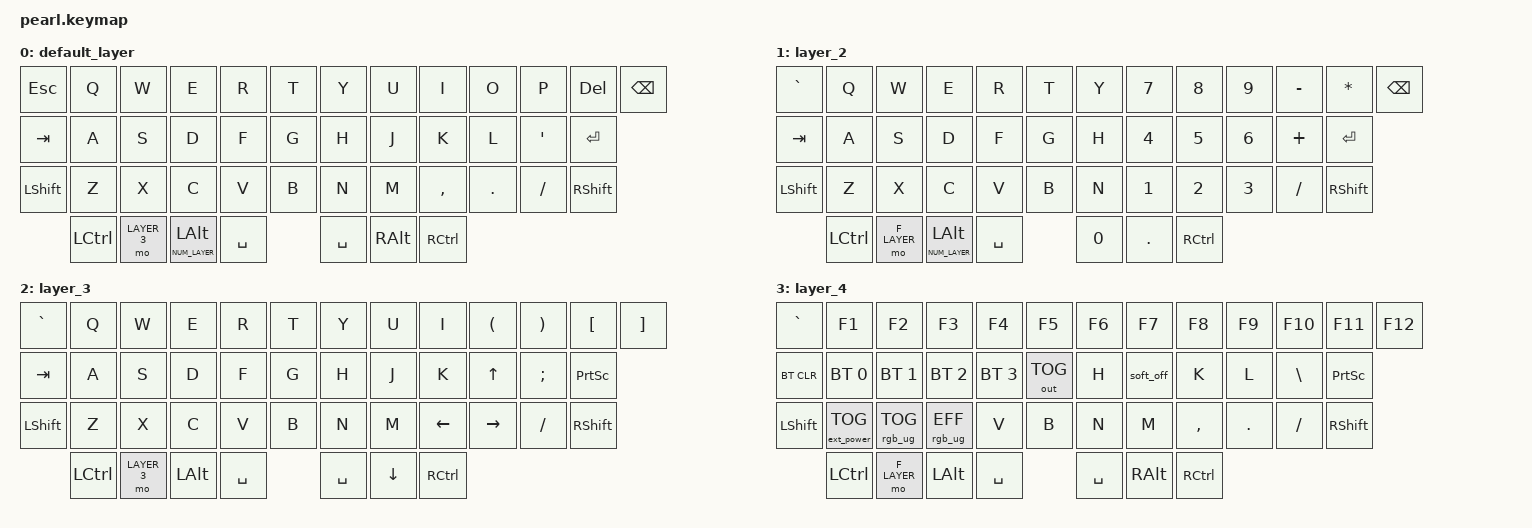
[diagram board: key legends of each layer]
/*
 * Copyright (c) 2020 The ZMK Contributors
 *
 * SPDX-License-Identifier: MIT
 */

#include <behaviors.dtsi>
#include <dt-bindings/zmk/keys.h>
#include <dt-bindings/zmk/bt.h>
#include <dt-bindings/zmk/outputs.h>
#include <dt-bindings/zmk/ext_power.h>
#include <dt-bindings/zmk/rgb.h>
#define DEFAULT 0
#define NUM_LAYER 1
#define LAYER_3 2
#define F_LAYER 3

&soft_off {
    hold-time-ms = <5000>; // Only turn off it the key is held for 5 seconds or longer.
	  };
&lt {
    tapping-term-ms = <500>;
    };

/ {
	keymap {
		compatible = "zmk,keymap";
		default_layer {
			bindings = <
		       &kp ESC          &kp Q             &kp W            &kp E               &kp R             &kp T          &kp Y      &kp U     &kp I        &kp O       &kp P       &kp DEL        &kp BSPC
      		       &kp TAB          &kp A             &kp S            &kp D               &kp F             &kp G          &kp H      &kp J     &kp K        &kp L       &kp APOS    &kp RETURN
      		       &kp LSHFT        &kp Z             &kp X            &kp C               &kp V             &kp B          &kp N      &kp M     &kp COMMA    &kp DOT     &kp FSLH    &kp RSHIFT
      		        	        &kp LCTRL         &mo LAYER_3      &lt NUM_LAYER LALT  &kp SPACE                        &kp SPACE  &kp RALT  &kp RCTRL
			>;
		};

	layer_2 {
			 bindings = <
			&kp GRAVE        &kp Q             &kp W            &kp E               &kp R             &kp T          &kp Y      &kp N7     &kp N8      &kp N9     &kp MINUS    &kp ASTRK       &kp BSPC
			&kp TAB          &kp A             &kp S            &kp D               &kp F             &kp G          &kp H      &kp N4     &kp N5      &kp N6     &kp PLUS     &kp RETURN
			&kp LSHFT        &kp Z             &kp X            &kp C               &kp V             &kp B          &kp N      &kp N1     &kp N2      &kp N3     &kp FSLH     &kp RSHIFT
				         &kp LCTRL         &mo F_LAYER      &lt NUM_LAYER LALT  &kp SPACE                        &kp N0     &kp DOT    &kp RCTRL      
			>;
		};

	layer_3 {
			 bindings = <
			&kp GRAVE        &kp Q             &kp W            &kp E               &kp R             &kp T          &kp Y       &kp U     &kp I        &kp LPAR   &kp RPAR    &kp LBKT        &kp RBKT
			&kp TAB          &kp A             &kp S            &kp D               &kp F             &kp G          &kp H       &kp J     &kp K        &kp UP     &kp SEMI    &kp PSCRN
			&kp LSHFT        &kp Z             &kp X            &kp C               &kp V             &kp B          &kp N       &kp M     &kp LEFT     &kp RIGHT  &kp FSLH    &kp RSHIFT
					 &kp LCTRL         &mo LAYER_3      &kp LALT            &kp SPACE                        &kp SPACE   &kp DOWN  &kp RCTRL      
			>;
		};

	layer_4 {
			 bindings = <
			&kp GRAVE        &kp F1             &kp F2           &kp F3            &kp F4           &kp F5         &kp F6      &kp F7     &kp F8        &kp F9     &kp F10      &kp F11      &kp F12
			&bt BT_CLR       &bt BT_SEL 0       &bt BT_SEL 1     &bt BT_SEL 2      &bt BT_SEL 3     &out OUT_TOG   &kp H       &soft_off  &kp K         &kp L      &kp BSLH     &kp PSCRN
			&kp LSHFT        &ext_power EP_TOG  &rgb_ug RGB_TOG  &rgb_ug RGB_EFF   &kp V            &kp B          &kp N       &kp M      &kp COMMA     &kp DOT    &kp FSLH     &kp RSHIFT
					 &kp LCTRL          &mo F_LAYER      &kp LALT          &kp SPACE                       &kp SPACE   &kp RALT   &kp RCTRL    
			>;
		};
	};
};
